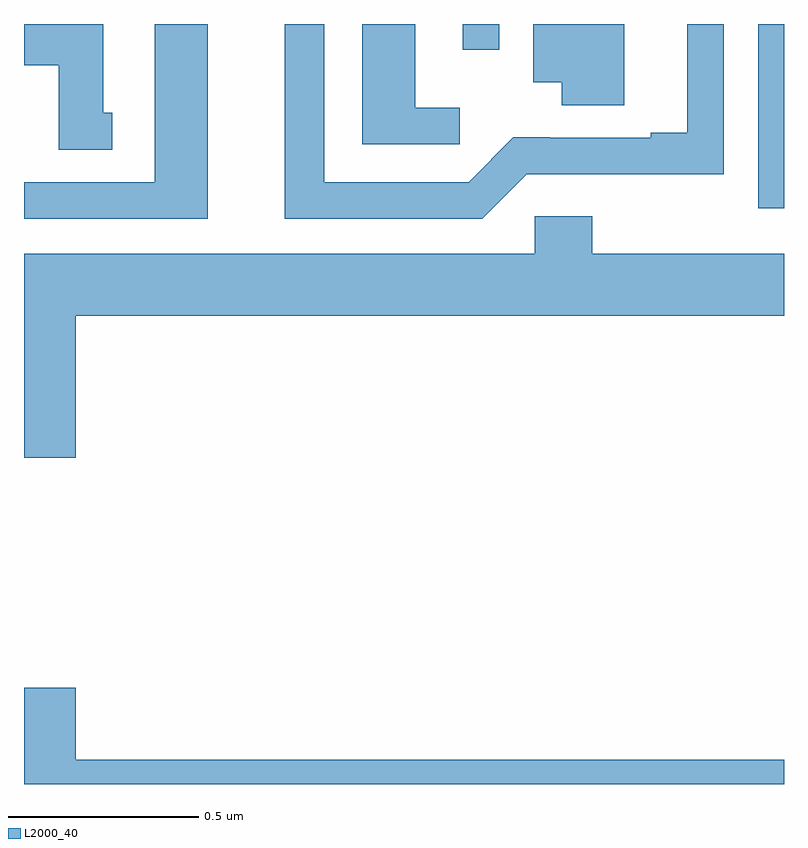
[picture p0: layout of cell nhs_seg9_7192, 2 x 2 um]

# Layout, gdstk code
import gdstk
lib = gdstk.Library(unit=1e-6, precision=1e-09)
def R(c, l, rs):  # rectangles x0, y0, x1, y1
    for r in rs: c.add(gdstk.rectangle(r[:2], r[2:], *l))
def P(c, l, *ps):  # polygons
    for p in ps: c.add(gdstk.Polygon(p, *l))
L2000_40 = (2000, 40)

nhs_seg9_7192 = lib.new_cell('nhs_seg9_7192')
R(nhs_seg9_7192, L2000_40, [(202.932,1218.015,203,1218.5), (202.155,1218.432,202.251,1218.5)])
P(nhs_seg9_7192, L2000_40, [(201.484,1218.5),(201.344,1218.5),(201.344,1218.084),(201,1218.084),(201,1217.988),(201.484,1217.988)],
  [(202.323,1218.105),(202.579,1218.105),(202.579,1218.104),(202.842,1218.104),(202.842,1218.5),(202.745,1218.5),(202.745,1218.214),(202.649,1218.214),(202.649,1218.201),(202.384,1218.201),(202.384,1218.202),(202.288,1218.202),(202.17,1218.084),(201.79,1218.084),(201.79,1218.5),(201.686,1218.5),(201.686,1217.988),(202.206,1217.988)],
  [(202.579,1218.5),(202.34,1218.5),(202.34,1218.347),(202.415,1218.347),(202.415,1218.286),(202.579,1218.286)],
  [(202.147,1218.28),(202.03,1218.28),(202.03,1218.5),(201.89,1218.5),(201.89,1218.183),(202.147,1218.183)],
  [(201.232,1218.267),(201.208,1218.267),(201.208,1218.5),(201,1218.5),(201,1218.392),(201.092,1218.392),(201.092,1218.169),(201.232,1218.169)],
  [(203,1217.896),(202.496,1217.896),(202.496,1217.994),(202.344,1217.994),(202.344,1217.896),(201,1217.896),(201,1217.358),(201.136,1217.358),(201.136,1217.732),(203,1217.732)],
  [(203,1216.564),(201.136,1216.564),(201.136,1216.753),(201,1216.753),(201,1216.5),(203,1216.5)])

lib.write_gds('nhs_seg9_7192.gds')
